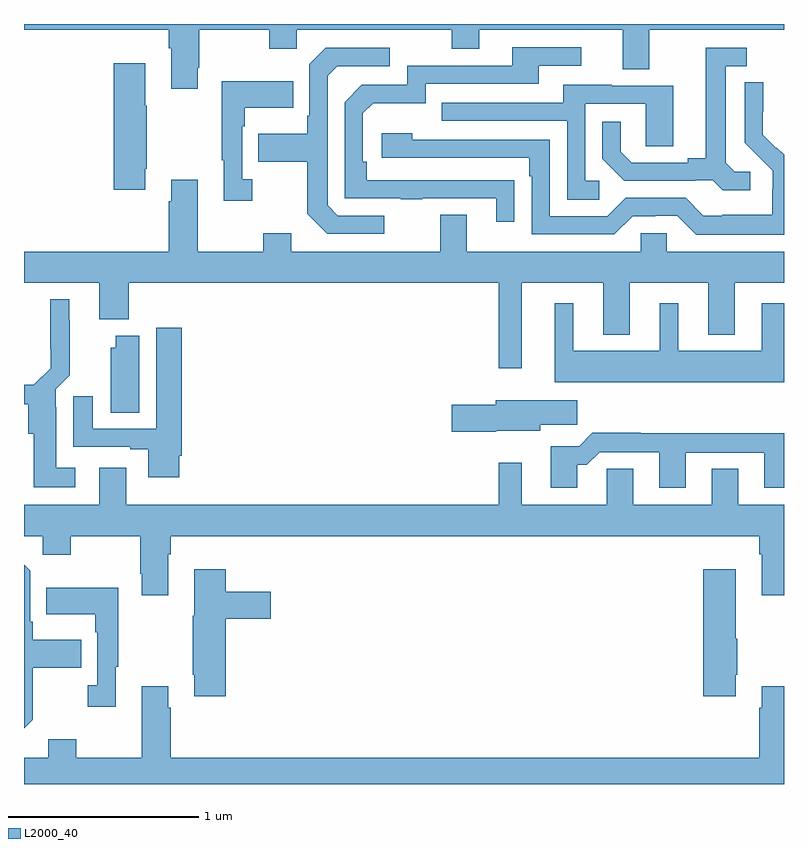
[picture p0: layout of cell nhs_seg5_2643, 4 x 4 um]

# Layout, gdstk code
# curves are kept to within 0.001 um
import gdstk
lib = gdstk.Library(unit=1e-6, precision=1e-09)
def P(c, l, *ps):  # polygons
    for p in ps: c.add(gdstk.Polygon(p, *l))
L2000_40 = (2000, 40)

nhs_seg5_2643 = lib.new_cell('nhs_seg5_2643')
P(nhs_seg5_2643, L2000_40, [(265.915,848.569),(265.923,848.569),(265.923,848.768),(266.29,848.768),(266.29,848.669),(266.436,848.669),(266.436,848.768),(267.25,848.768),(267.25,848.669),(267.397,848.669),(267.397,848.768),(268.151,848.768),(268.151,848.56),(268.291,848.56),(268.291,848.768),(269,848.768),(269,848.799),(265,848.799),(265,848.768),(265.763,848.768),(265.763,848.672),(265.775,848.672),(265.775,848.457),(265.915,848.457)],
  [(267.581,847.976),(266.804,847.977),(266.804,848.074),(266.784,848.074),(266.784,848.328),(266.837,848.381),(267.114,848.381),(267.114,848.484),(267.709,848.484),(267.709,848.58),(267.934,848.58),(267.934,848.676),(267.569,848.676),(267.569,848.58),(267.018,848.58),(267.018,848.478),(266.778,848.478),(266.688,848.388),(266.688,847.881),(266.983,847.881),(266.983,847.876),(267.095,847.876),(267.095,847.881),(267.485,847.881),(267.485,847.758),(267.581,847.758)],
  [(266.896,847.791),(266.652,847.791),(266.598,847.845),(266.598,848.526),(266.649,848.577),(266.926,848.577),(266.926,848.673),(266.589,848.673),(266.502,848.586),(266.502,848.317),(266.49,848.317),(266.49,848.221),(266.233,848.221),(266.233,848.074),(266.49,848.074),(266.49,847.801),(266.595,847.695),(266.896,847.695)],
  [(268.822,848.022),(268.74,848.022),(268.693,848.069),(268.693,848.577),(268.804,848.577),(268.804,848.673),(268.589,848.673),(268.589,848.093),(268.493,848.093),(268.493,848.07),(268.198,848.07),(268.141,848.127),(268.141,848.284),(268.044,848.284),(268.044,848.09),(268.16,847.974),(268.532,847.974),(268.532,847.977),(268.626,847.977),(268.678,847.925),(268.822,847.925)],
  [(265.639,848.038),(265.647,848.038),(265.647,848.369),(265.639,848.369),(265.639,848.593),(265.472,848.593),(265.472,847.926),(265.639,847.926)],
  [(266.2,847.982),(266.148,847.982),(266.148,848.261),(266.161,848.261),(266.161,848.357),(266.417,848.357),(266.417,848.497),(266.04,848.497),(266.04,848.081),(266.051,848.081),(266.051,847.869),(266.2,847.869)],
  [(269,848.11),(268.962,848.148),(268.959,848.145),(268.889,848.216),(268.89,848.492),(268.794,848.492),(268.794,848.174),(268.94,848.026),(268.94,847.929),(268.938,847.929),(268.938,847.795),(268.675,847.795),(268.675,847.791),(268.575,847.791),(268.482,847.884),(268.167,847.884),(268.071,847.788),(267.768,847.788),(267.768,848.19),(267.044,848.19),(267.044,848.224),(266.883,848.224),(266.883,848.094),(267.659,848.094),(267.659,847.997),(267.672,847.997),(267.672,847.692),(268.107,847.692),(268.203,847.788),(268.322,847.788),(268.322,847.791),(268.437,847.791),(268.537,847.691),(269,847.691)],
  [(268.027,847.974),(267.954,847.974),(267.954,848.379),(268.272,848.379),(268.272,848.155),(268.417,848.155),(268.417,848.475),(268.093,848.475),(268.093,848.479),(267.839,848.479),(267.839,848.385),(267.199,848.385),(267.199,848.289),(267.858,848.289),(267.858,847.873),(268.027,847.873)],
  [(267.619,847.436),(268.049,847.436),(268.049,847.163),(268.189,847.163),(268.189,847.436),(268.601,847.436),(268.601,847.163),(268.741,847.163),(268.741,847.436),(269,847.436),(269,847.6),(268.383,847.6),(268.383,847.698),(268.245,847.698),(268.245,847.6),(267.331,847.6),(267.331,847.795),(267.191,847.795),(267.191,847.6),(266.407,847.6),(266.407,847.699),(266.26,847.699),(266.26,847.6),(265.915,847.6),(265.915,847.978),(265.775,847.978),(265.775,847.865),(265.763,847.865),(265.763,847.6),(265,847.6),(265,847.436),(265.397,847.436),(265.397,847.244),(265.55,847.244),(265.55,847.436),(267.498,847.436),(267.498,846.987),(267.619,846.987)],
  [(265.27,846.463),(265.171,846.463),(265.171,846.782),(265.167,846.782),(265.167,846.876),(265.241,846.95),(265.241,847.241),(265.237,847.241),(265.237,847.351),(265.139,847.351),(265.14,846.988),(265.052,846.9),(265,846.9),(265,846.799),(265.022,846.799),(265.022,846.642),(265.052,846.642),(265.052,846.362),(265.27,846.362)],
  [(269,847.33),(268.883,847.33),(268.883,847.078),(268.444,847.078),(268.444,847.33),(268.346,847.33),(268.346,847.078),(267.892,847.078),(267.892,847.33),(267.794,847.33),(267.794,846.914),(269,846.914)],
  [(265.816,846.526),(265.829,846.526),(265.829,847.201),(265.697,847.201),(265.697,846.669),(265.363,846.669),(265.363,846.841),(265.259,846.841),(265.259,846.573),(265.559,846.573),(265.559,846.561),(265.655,846.561),(265.655,846.414),(265.816,846.414)],
  [(265.606,847.159),(265.484,847.159),(265.484,847.095),(265.457,847.095),(265.457,846.754),(265.606,846.754)],
  [(267.486,846.659),(267.718,846.659),(267.718,846.691),(267.913,846.691),(267.913,846.82),(267.482,846.82),(267.482,846.794),(267.252,846.794),(267.252,846.652),(267.486,846.652)],
  [(267.913,846.479),(267.962,846.479),(268.029,846.546),(268.343,846.546),(268.343,846.357),(268.483,846.357),(268.483,846.543),(268.895,846.543),(268.895,846.357),(269,846.357),(269,846.644),(268.247,846.644),(268.247,846.647),(267.992,846.647),(267.922,846.577),(267.773,846.577),(267.773,846.357),(267.913,846.357)],
  [(265.759,846.008),(265.772,846.008),(265.772,846.104),(268.871,846.104),(268.871,846.008),(268.883,846.008),(268.883,845.793),(269,845.793),(269,846.268),(268.759,846.268),(268.759,846.458),(268.619,846.458),(268.619,846.268),(268.207,846.268),(268.207,846.458),(268.068,846.458),(268.068,846.268),(267.619,846.268),(267.619,846.49),(267.498,846.49),(267.498,846.268),(265.537,846.268),(265.537,846.463),(265.397,846.463),(265.397,846.268),(265,846.268),(265,846.104),(265.098,846.104),(265.098,846.005),(265.245,846.005),(265.245,846.104),(265.612,846.104),(265.612,845.905),(265.619,845.905),(265.619,845.793),(265.759,845.793)],
  [(265.045,845.137),(265.045,845.41),(265.301,845.41),(265.301,845.557),(265.045,845.557),(265.045,845.653),(265.032,845.653),(265.032,845.922),(265,845.954),(265,845.092)],
  [(266.063,845.669),(266.299,845.669),(266.299,845.811),(266.063,845.811),(266.063,845.929),(265.895,845.929),(265.895,845.685),(265.888,845.685),(265.888,845.374),(265.895,845.374),(265.895,845.262),(266.063,845.262)],
  [(268.747,845.374),(268.755,845.374),(268.755,845.563),(268.747,845.563),(268.747,845.929),(268.574,845.929),(268.574,845.262),(268.747,845.262)],
  [(265.483,845.417),(265.495,845.417),(265.495,845.833),(265.117,845.833),(265.117,845.693),(265.374,845.693),(265.374,845.597),(265.386,845.597),(265.386,845.318),(265.335,845.318),(265.335,845.205),(265.483,845.205)],
  [(269,845.314),(268.883,845.314),(268.883,845.201),(268.871,845.201),(268.871,844.936),(265.772,844.936),(265.772,845.201),(265.759,845.201),(265.759,845.314),(265.619,845.314),(265.619,844.936),(265.275,844.936),(265.275,845.035),(265.127,845.035),(265.127,844.936),(265,844.936),(265,844.799),(269,844.799)])

lib.write_gds('nhs_seg5_2643.gds')
